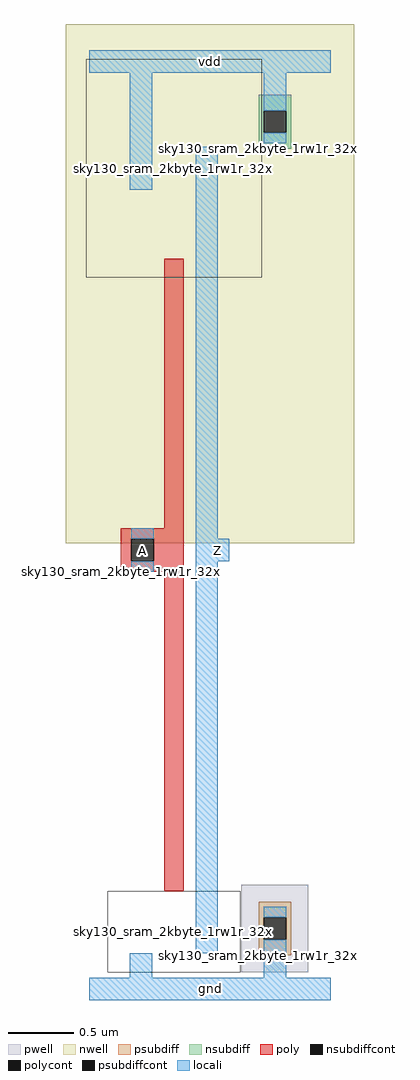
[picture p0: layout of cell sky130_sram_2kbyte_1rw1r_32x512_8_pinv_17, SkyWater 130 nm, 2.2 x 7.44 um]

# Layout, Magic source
magic
tech sky130A
magscale 1 2
<< nwell >>
rect -36 679 404 1471
<< pwell >>
rect 232 25 334 159
<< psubdiff >>
rect 258 109 308 133
rect 258 75 266 109
rect 300 75 308 109
rect 258 51 308 75
<< nsubdiff >>
rect 258 1339 308 1363
rect 258 1305 266 1339
rect 300 1305 308 1339
rect 258 1281 308 1305
<< psubdiffcont >>
rect 266 75 300 109
<< nsubdiffcont >>
rect 266 1305 300 1339
<< poly >>
rect 114 702 144 1113
rect 48 686 144 702
rect 48 652 64 686
rect 98 652 144 686
rect 48 636 144 652
rect 114 149 144 636
<< polycont >>
rect 64 652 98 686
<< locali >>
rect 0 1397 368 1431
rect 62 1218 96 1397
rect 266 1339 300 1397
rect 266 1289 300 1305
rect 64 686 98 702
rect 64 636 98 652
rect 162 686 196 1284
rect 162 652 213 686
rect 162 54 196 652
rect 266 109 300 125
rect 62 17 96 54
rect 266 17 300 75
rect 0 -17 368 17
use sky130_sram_2kbyte_1rw1r_32x512_8_contact_16  sky130_sram_2kbyte_1rw1r_32x512_8_contact_16_0
transform 1 0 48 0 1 636
box 0 0 1 1
use sky130_sram_2kbyte_1rw1r_32x512_8_contact_29  sky130_sram_2kbyte_1rw1r_32x512_8_contact_29_0
transform 1 0 258 0 1 51
box 0 0 1 1
use sky130_sram_2kbyte_1rw1r_32x512_8_contact_28  sky130_sram_2kbyte_1rw1r_32x512_8_contact_28_0
transform 1 0 258 0 1 1281
box 0 0 1 1
use sky130_sram_2kbyte_1rw1r_32x512_8_nmos_m1_w0_360_sli_dli_da_p  sky130_sram_2kbyte_1rw1r_32x512_8_nmos_m1_w0_360_sli_dli_da_p_0
transform 1 0 54 0 1 51
box -26 -26 176 98
use sky130_sram_2kbyte_1rw1r_32x512_8_pmos_m1_w1_120_sli_dli_da_p  sky130_sram_2kbyte_1rw1r_32x512_8_pmos_m1_w1_120_sli_dli_da_p_0
transform 1 0 54 0 1 1139
box -59 -54 209 278
<< labels >>
rlabel locali s 81 669 81 669 4 A
port 1 nsew
rlabel locali s 196 669 196 669 4 Z
port 2 nsew
rlabel locali s 184 0 184 0 4 gnd
port 3 nsew
rlabel locali s 184 1414 184 1414 4 vdd
port 4 nsew
<< properties >>
string FIXED_BBOX 0 0 368 1414
string GDS_FILE $PDKPATH/libs.ref/sky130_sram_macros/gds/sky130_sram_2kbyte_1rw1r_32x512_8.gds
string GDS_END 364784
string GDS_START 362914
<< end >>
